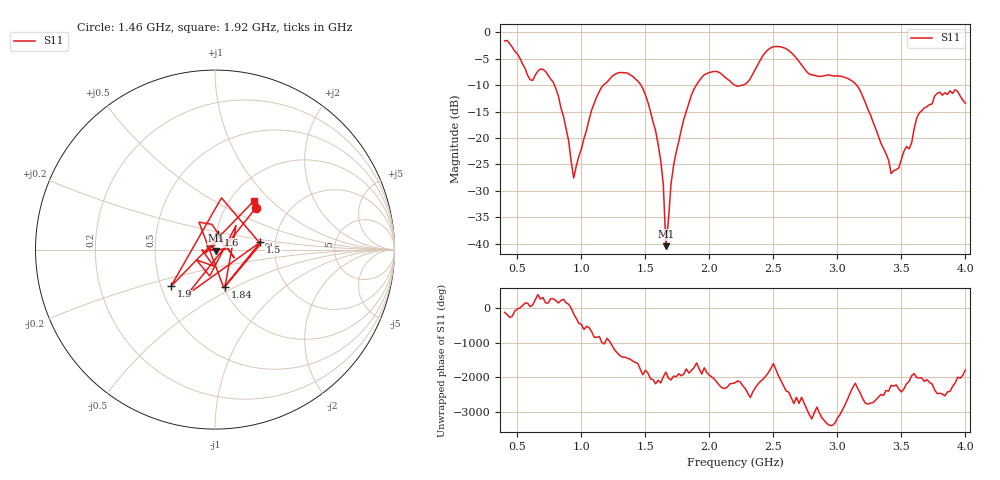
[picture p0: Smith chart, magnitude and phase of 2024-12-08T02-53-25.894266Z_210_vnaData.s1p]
!Created with skrf (http://scikit-rf.org).
# Hz S RI R 50.0
!freq ReS11 ImS11
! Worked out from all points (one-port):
!   181 points, 400 MHz to 4 GHz, reference 50 ohm
!   lowest |S11| = -40.5 dB at 1.66 GHz (marker M1), VSWR 1.02, Z = 50.7 - j0.68 ohm
!   |S11| at or under -10 dB: 789.4 MHz to 1.172 GHz (382.6 MHz wide, 39 % of centre); 1.465 GHz to 1.898 GHz (432.7 MHz wide, 25.7 % of centre); 3.15 GHz to end of sweep (the widest 3 of 4)
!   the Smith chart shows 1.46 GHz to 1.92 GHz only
!   S11 on the Smith chart (normalised r, x): 1.46 GHz: 1.37, +0.71; 1.5 GHz: 1.67, +0.15; 1.6 GHz: 1.02, +0.17; 1.84 GHz: 1.02, -0.44; 1.9 GHz: 0.56, -0.26; 1.92 GHz: 1.28, +0.79
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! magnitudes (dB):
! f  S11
! 400 MHz  -1.6
! 600 MHz  -9.0
! 720 MHz  -7.4
! 860 MHz  -15.9
! 940 MHz  -27.6
! 1.12 GHz  -12.2
! 1.3 GHz  -7.6
! 1.46 GHz  -9.8
! 1.5 GHz  -11.8
! 1.6 GHz  -21.3
! 1.64 GHz  -28.8
! 1.66 GHz  -40.5
! 1.7 GHz  -28.8
! 1.76 GHz  -20.7
! 1.84 GHz  -13.4
! 1.9 GHz  -9.9
! 1.92 GHz  -9.2
! 2.2 GHz  -10.0
! 2.48 GHz  -2.9
! 2.66 GHz  -4.3
! 2.78 GHz  -7.9
! 3.1 GHz  -9.0
! 3.18 GHz  -11.1
! 3.42 GHz  -26.8
! 3.56 GHz  -22.1
! 3.62 GHz  -16.2
! 3.78 GHz  -11.5
! 4 GHz  -13.4
